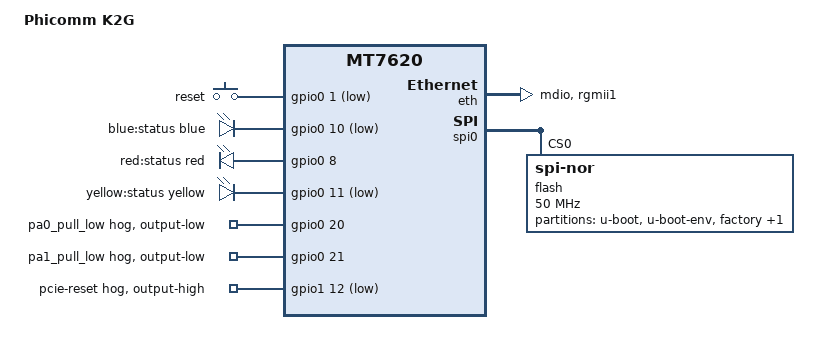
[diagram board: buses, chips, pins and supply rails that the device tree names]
// SPDX-License-Identifier: GPL-2.0-or-later

/dts-v1/;

#include "mt7620.dtsi"

#include <dt-bindings/gpio/gpio.h>
#include <dt-bindings/input/input.h>
#include <dt-bindings/leds/common.h>

/ {
	compatible = "phicomm,k2g", "mediatek,mt7620-soc";
	model = "Phicomm K2G";

	aliases {
		button-boot1 = &key_reset;
		led-status1 = &led_yellow;
		led-status2 = &led_red;
		serial0 = &uartlite;
		spi0 = &spi0;
	};

	chosen {
		stdout-path = &uartlite;
	};

	config {
		button-reset-env;
	};

	gpio-keys {
		compatible = "gpio-keys";

		key_reset: reset {
			label = "reset";
			gpios = <&gpio0 1 GPIO_ACTIVE_LOW>;
			linux,code = <KEY_RESTART>;
		};
	};

	gpio-leds {
		compatible = "gpio-leds";

		led-blue {
			label = "blue:status";
			color = <LED_COLOR_ID_BLUE>;
			function = LED_FUNCTION_STATUS;
			gpios = <&gpio0 10 GPIO_ACTIVE_LOW>;
			default-state = "off";
		};

		led_red: led-red {
			label = "red:status";
			color = <LED_COLOR_ID_RED>;
			function = LED_FUNCTION_STATUS;
			gpios = <&gpio0 8 GPIO_ACTIVE_HIGH>;
			default-state = "off";
		};

		led_yellow: led-yellow {
			label = "yellow:status";
			color = <LED_COLOR_ID_YELLOW>;
			function = LED_FUNCTION_STATUS;
			gpios = <&gpio0 11 GPIO_ACTIVE_LOW>;
			default-state = "on";
		};
	};
};

&ehci {
	status = "disabled";
};

&eth {
	pinctrl-names = "default";
	pinctrl-0 = <&gsw_pins>;

	port5 {
		phy-mode = "rgmii";
		phy-addr = <5>;
	};
};

&gpio0 {
	pa0_pull_low {
		gpio-hog;
		gpios = <20 GPIO_ACTIVE_HIGH>;
		output-low;
	};

	pa1_pull_low {
		gpio-hog;
		gpios = <21 GPIO_ACTIVE_HIGH>;
		output-low;
	};
};

&gpio1 {
	pcie-reset {
		gpio-hog;
		gpios = <12 GPIO_ACTIVE_LOW>;
		output-high;
	};
};

&pinctrl {
	gsw_pins: gsw_pins {
		mdio {
			groups = "mdio";
			function = "mdio";
		};

		rgmii1 {
			groups = "rgmii1";
			function = "rgmii1";
		};
	};
};

&spi0 {
	flash@0 {
		compatible = "jedec,spi-nor";
		reg = <0>;
		spi-max-frequency = <50000000>;

		partitions {
			compatible = "fixed-partitions";
			#address-cells = <1>;
			#size-cells = <1>;

			partition@0 {
				label = "u-boot";
				reg = <0x000000 0x030000>;
			};

			partition@30000 {
				label = "u-boot-env";
				reg = <0x030000 0x010000>;
			};

			partition@40000 {
				label = "factory";
				reg = <0x040000 0x010000>;
			};

			partition@50000 {
				label = "firmware";
				reg = <0x050000 0x7b0000>;
			};
		};
	};
};

&state_default {
	gpios {
		groups = "i2c", "uartf", "rgmii2", "perst", "nand", "pa", \
			 "wdt rst", "wled", "ephy led";
		function = "gpio";
	};
};

&usb_phy {
	status = "disabled";
};
